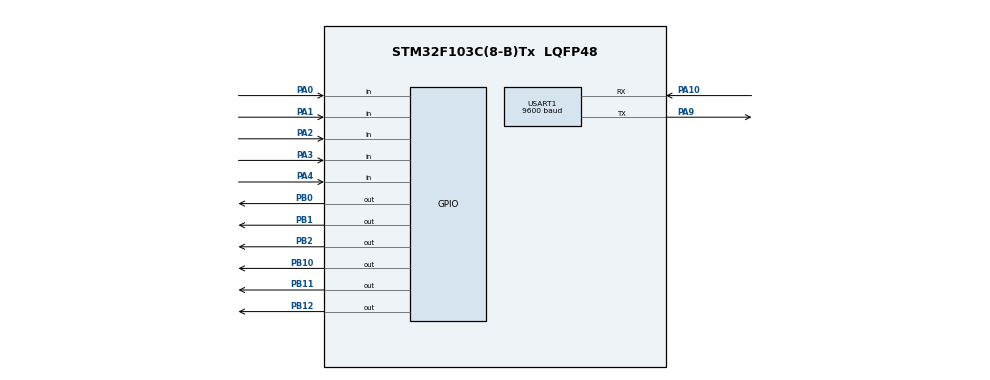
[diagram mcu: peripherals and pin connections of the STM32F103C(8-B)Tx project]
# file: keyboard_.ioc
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Mcu.Family=STM32F1
Mcu.Name=STM32F103C(8-B)Tx
Mcu.Package=LQFP48
NVIC.PriorityGroup=NVIC_PRIORITYGROUP_4
PA0-WKUP.GPIO_PuPd=GPIO_PULLUP
PA0-WKUP.Signal=GPIO_Input
PA1.GPIO_PuPd=GPIO_PULLUP
PA1.Signal=GPIO_Input
PA10.Mode=Asynchronous
PA10.Signal=USART1_RX
PA13.Mode=Serial_Wire
PA13.Signal=SYS_JTMS-SWDIO
PA14.Mode=Serial_Wire
PA14.Signal=SYS_JTCK-SWCLK
PA2.GPIO_PuPd=GPIO_PULLUP
PA2.Signal=GPIO_Input
PA3.GPIO_PuPd=GPIO_PULLUP
PA3.Signal=GPIO_Input
PA4.GPIO_PuPd=GPIO_PULLUP
PA4.Signal=GPIO_Input
PA9.Mode=Asynchronous
PA9.Signal=USART1_TX
PB0.Signal=GPIO_Output
PB1.Signal=GPIO_Output
PB10.Signal=GPIO_Output
PB11.Signal=GPIO_Output
PB12.Signal=GPIO_Output
PB2.Signal=GPIO_Output
PD0-OSC_IN.Mode=HSE-External-Oscillator
PD0-OSC_IN.Signal=RCC_OSC_IN
PD1-OSC_OUT.Mode=HSE-External-Oscillator
PD1-OSC_OUT.Signal=RCC_OSC_OUT
ProjectManager.HeapSize=0x200
ProjectManager.StackSize=0x400
ProjectManager.TargetToolchain=STM32CubeIDE
RCC.APB1Freq_Value=8000000
RCC.APB2Freq_Value=8000000
USART1.BaudRate=9600
USART1.VirtualMode=VM_ASYNC
board=custom

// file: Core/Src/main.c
/* USER CODE BEGIN Header */
/**
  ******************************************************************************
  * @file           : main.c
  * @brief          : Main program body
  ******************************************************************************
  * @attention
  *
  * Copyright (c) 2026 STMicroelectronics.
  * All rights reserved.
  *
  * This software is licensed under terms that can be found in the LICENSE file
  * in the root directory of this software component.
  * If no LICENSE file comes with this software, it is provided AS-IS.
  *
  ******************************************************************************
  */
/* USER CODE END Header */
#include "main.h"

UART_HandleTypeDef huart1;

/* USER CODE BEGIN PV */
#define R 5
#define C 6

char keys[R][C] =
{
    {'A','B','C','D','E','F'},
    {'G','H','I','J','K','L'},
    {'M','N','O','P','Q','R'},
    {'S','T','U','V','W','X'},
    {'Y','Z',' ',' ',' ',' '}
};

uint16_t Col_Pins[C] = {GPIO_PIN_0, GPIO_PIN_1, GPIO_PIN_2, GPIO_PIN_10, GPIO_PIN_11, GPIO_PIN_12};
GPIO_TypeDef* Col_Ports[C] = {GPIOB, GPIOB, GPIOB, GPIOB, GPIOB, GPIOB};

uint16_t Row_Pins[R] = {GPIO_PIN_0, GPIO_PIN_1, GPIO_PIN_2, GPIO_PIN_3, GPIO_PIN_4};
GPIO_TypeDef* Row_Ports[R] = {GPIOA, GPIOA, GPIOA, GPIOA, GPIOA};

/*16 bit values of gpio pins are given for memory allocation as accordation to gbio ka position
 * actual poisition nahi, uske memory storage location se. each is referenced to their respective pin
 * phir actual main code me location ke through bulate hai*/

/* USER CODE END PV */

void SystemClock_Config(void);
static void MX_GPIO_Init(void);
static void MX_USART1_UART_Init(void);

/* USER CODE BEGIN 0 */

char letters(void)
{
    for(int col = 0; col < C; col++)
    {
        for(int i = 0; i < C; i++)
        {
            HAL_GPIO_WritePin(Col_Ports[i], Col_Pins[i], GPIO_PIN_SET);
        }
        HAL_GPIO_WritePin(Col_Ports[col], Col_Pins[col], GPIO_PIN_RESET);
        for(int row = 0; row < R; row++)
        {
            if(HAL_GPIO_ReadPin(Row_Ports[row], Row_Pins[row]) == GPIO_PIN_RESET)
            {
                HAL_Delay(20);
                while(HAL_GPIO_ReadPin(Row_Ports[row], Row_Pins[row]) == GPIO_PIN_RESET);
                return keys[row][col];
            }
        }
    }
    return 0;
}
/*basically this keeps going on and on till a key is pressed. first, all the coloums are made to set high to match the 1 of rows which are high due to pull up
 * then a single coloumn is chosen to be low and then its going through each coloumn to be low till a key is pressed. if a key is pressed it also goes low as the
 * as the coloumn and hence the key is transmitted to virtual terminal.*/
/* USER CODE END 0 */

int main(void)
{

  /* MCU Configuration--------------------------------------------------------*/

  /* Reset of all peripherals, Initializes the Flash interface and the Systick. */
  HAL_Init();

  /* Configure the system clock */
  SystemClock_Config();

  /* Initialize all configured peripherals */
  MX_GPIO_Init();
  MX_USART1_UART_Init();

  /* Infinite loop */
  while (1)
  {

    /* USER CODE BEGIN 3 */
	  char key = letters();

	      if(key != 0)
	      {
	          HAL_UART_Transmit(&huart1, (uint8_t*)&key, 1, 100);
	          HAL_Delay(200);
	      }
  }
/*here key is givent the return value of letters and then it is called from that position in memory to be called in its human readable form*/
  /* USER CODE END 3 */
}

void SystemClock_Config(void)
{
  RCC_OscInitTypeDef RCC_OscInitStruct = {0};
  RCC_ClkInitTypeDef RCC_ClkInitStruct = {0};

  /** Initializes the RCC Oscillators according to the specified parameters
  * in the RCC_OscInitTypeDef structure.
  */
  RCC_OscInitStruct.OscillatorType = RCC_OSCILLATORTYPE_HSI;
  RCC_OscInitStruct.HSIState = RCC_HSI_ON;
  RCC_OscInitStruct.HSICalibrationValue = RCC_HSICALIBRATION_DEFAULT;
  RCC_OscInitStruct.PLL.PLLState = RCC_PLL_NONE;
  if (HAL_RCC_OscConfig(&RCC_OscInitStruct) != HAL_OK)
  {
    Error_Handler();
  }

  /** Initializes the CPU, AHB and APB buses clocks
  */
  RCC_ClkInitStruct.ClockType = RCC_CLOCKTYPE_HCLK|RCC_CLOCKTYPE_SYSCLK
                              |RCC_CLOCKTYPE_PCLK1|RCC_CLOCKTYPE_PCLK2;
  RCC_ClkInitStruct.SYSCLKSource = RCC_SYSCLKSOURCE_HSI;
  RCC_ClkInitStruct.AHBCLKDivider = RCC_SYSCLK_DIV1;
  RCC_ClkInitStruct.APB1CLKDivider = RCC_HCLK_DIV1;
  RCC_ClkInitStruct.APB2CLKDivider = RCC_HCLK_DIV1;

  if (HAL_RCC_ClockConfig(&RCC_ClkInitStruct, FLASH_LATENCY_0) != HAL_OK)
  {
    Error_Handler();
  }
}

static void MX_USART1_UART_Init(void)
{

  huart1.Instance = USART1;
  huart1.Init.BaudRate = 9600;
  huart1.Init.WordLength = UART_WORDLENGTH_8B;
  huart1.Init.StopBits = UART_STOPBITS_1;
  huart1.Init.Parity = UART_PARITY_NONE;
  huart1.Init.Mode = UART_MODE_TX_RX;
  huart1.Init.HwFlowCtl = UART_HWCONTROL_NONE;
  huart1.Init.OverSampling = UART_OVERSAMPLING_16;
  if (HAL_UART_Init(&huart1) != HAL_OK)
  {
    Error_Handler();
  }

}

static void MX_GPIO_Init(void)
{
  GPIO_InitTypeDef GPIO_InitStruct = {0};

  /* GPIO Ports Clock Enable */
  __HAL_RCC_GPIOD_CLK_ENABLE();
  __HAL_RCC_GPIOA_CLK_ENABLE();
  __HAL_RCC_GPIOB_CLK_ENABLE();

  /*Configure GPIO pin Output Level */
  HAL_GPIO_WritePin(GPIOB, GPIO_PIN_0|GPIO_PIN_1|GPIO_PIN_2|GPIO_PIN_10
                          |GPIO_PIN_11|GPIO_PIN_12, GPIO_PIN_RESET);

  /*Configure GPIO pins : PA0 PA1 PA2 PA3
                           PA4 */
  GPIO_InitStruct.Pin = GPIO_PIN_0|GPIO_PIN_1|GPIO_PIN_2|GPIO_PIN_3
                          |GPIO_PIN_4;
  GPIO_InitStruct.Mode = GPIO_MODE_INPUT;
  GPIO_InitStruct.Pull = GPIO_PULLUP;
  HAL_GPIO_Init(GPIOA, &GPIO_InitStruct);

  /*Configure GPIO pins : PB0 PB1 PB2 PB10
                           PB11 PB12 */
  GPIO_InitStruct.Pin = GPIO_PIN_0|GPIO_PIN_1|GPIO_PIN_2|GPIO_PIN_10
                          |GPIO_PIN_11|GPIO_PIN_12;
  GPIO_InitStruct.Mode = GPIO_MODE_OUTPUT_PP;
  GPIO_InitStruct.Pull = GPIO_NOPULL;
  GPIO_InitStruct.Speed = GPIO_SPEED_FREQ_LOW;
  HAL_GPIO_Init(GPIOB, &GPIO_InitStruct);

}

void Error_Handler(void)
{
  __disable_irq();
  while (1)
  {
  }
}
